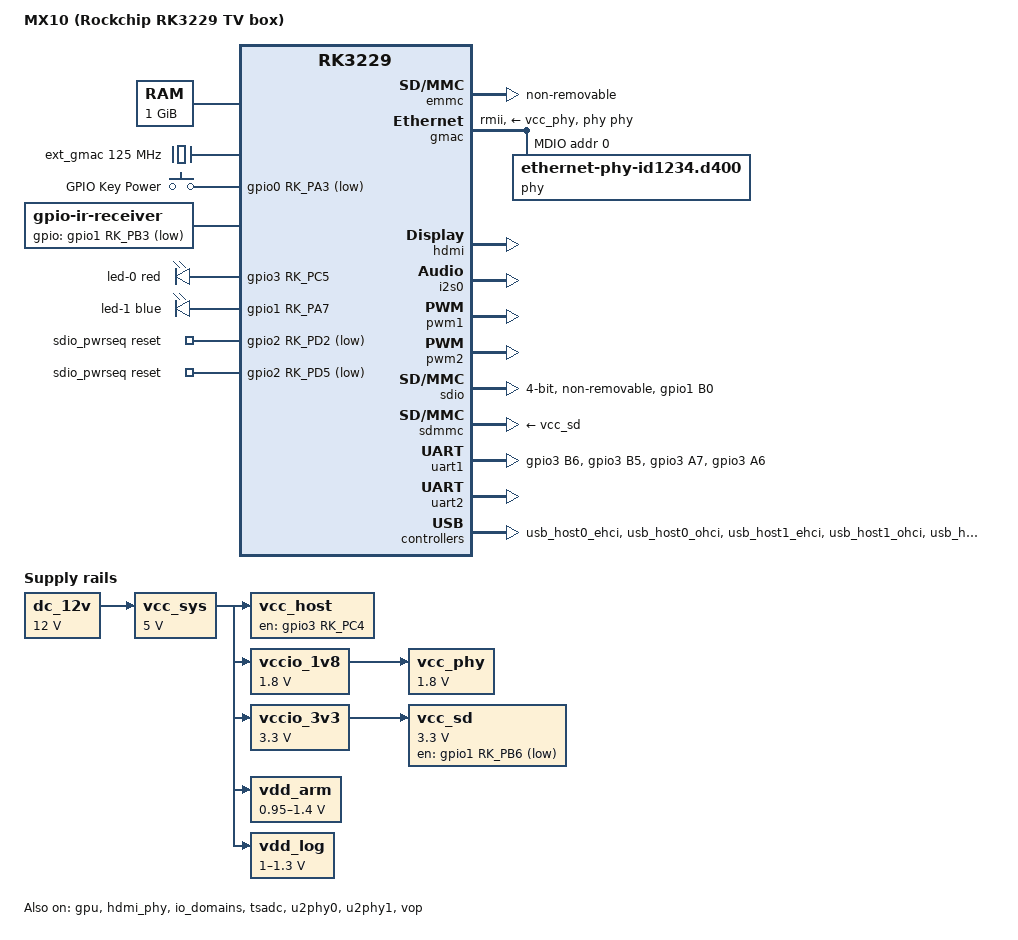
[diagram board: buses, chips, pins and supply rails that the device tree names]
// SPDX-License-Identifier: (GPL-2.0+ OR MIT)
/*
 * "MX10" style Rockchip RK3229 Android TV box (1 GiB DDR3, 8 GiB eMMC),
 * ported from the vendor 3.10.104 device tree found in its firmware
 * (Rockchip RK322x SDK Android 7.1.2, build "MX10-14-202501061756").
 *
 * The board follows the Rockchip RK322x box reference design, so most of
 * this file is shared with rk3229-xms6.dts.
 *
 * Items taken from the vendor DT and NOT verified on hardware are marked
 * with "TODO(verify)".
 */

/dts-v1/;

#include <dt-bindings/input/input.h>
#include <dt-bindings/leds/common.h>
#include "rk3229.dtsi"

/ {
	model = "MX10 (Rockchip RK3229 TV box)";
	compatible = "rockchip,rk3229-mx10", "rockchip,rk3229";

	aliases {
		mmc0 = &sdmmc;
		mmc1 = &sdio;
		mmc2 = &emmc;
	};

	chosen {
		stdout-path = "serial2:1500000n8";
	};

	/*
	 * The vendor DT leaves the memory node empty (<0 0>): the Rockchip
	 * loader passes the size at run time.  The firmware property
	 * roca.mem.size=8GB1GB (8 GiB flash + 1 GiB RAM) indicates 1 GiB.
	 * U-Boot fixes this node up from the detected DRAM size.
	 */
	memory@60000000 {
		device_type = "memory";
		reg = <0x60000000 0x40000000>;
	};

	/*
	 * trust.img (TOS) is loaded by the Rockchip loader to 0x68400000
	 * (see its header) and runs in the secure world.  The reference
	 * OP-TEE setup for RK322x protects 0x68400000-0x68600000, so keep
	 * Linux away from that range.  TODO(verify): exact protected size.
	 */
	reserved-memory {
		#address-cells = <1>;
		#size-cells = <1>;
		ranges;

		tos@68400000 {
			reg = <0x68400000 0x200000>;
			no-map;
		};
	};

	/*
	 * The Rockchip secure firmware (trust.img/TOS) in the eMMC provides
	 * PSCI, but the vendor DT describes it as legacy PSCI 0.1 with fixed
	 * function IDs (cpu_on = 0x84000003 ...).  Whether it also implements
	 * PSCI_VERSION is unknown, so describe it exactly like the vendor DT
	 * instead of relying on the PSCI 0.2 probing done for rk322x.dtsi.
	 */
	psci {
		compatible = "arm,psci";
		method = "smc";
		cpu_suspend = <0x84000001>;
		cpu_off = <0x84000002>;
		cpu_on = <0x84000003>;
	};

	dc_12v: regulator-dc-12v {
		compatible = "regulator-fixed";
		regulator-name = "dc_12v";
		regulator-always-on;
		regulator-boot-on;
		regulator-min-microvolt = <12000000>;
		regulator-max-microvolt = <12000000>;
	};

	ext_gmac: ext_gmac {
		compatible = "fixed-clock";
		clock-frequency = <125000000>;
		clock-output-names = "ext_gmac";
		#clock-cells = <0>;
	};

	gpio-keys {
		compatible = "gpio-keys";
		pinctrl-names = "default";
		pinctrl-0 = <&pwr_key>;

		/* vendor: shutdown-key { shutdown_key_io = <&gpio0 3 1>; } */
		power-key {
			label = "GPIO Key Power";
			gpios = <&gpio0 RK_PA3 GPIO_ACTIVE_LOW>;
			linux,code = <KEY_POWER>;
			debounce-interval = <100>;
			wakeup-source;
		};
	};

	/*
	 * Infrared receiver.  The vendor kernel decodes NEC-like frames in
	 * the PWM3 block (pin GPIO1_B3, "pwmir1-pin"); mainline has no such
	 * hardware decoder support, so sample the pin with gpio-ir-receiver.
	 * Vendor user codes: 0x4040, 0xfe01, 0x1dcc, ...
	 * Load a keymap with ir-keytable(1).
	 */
	ir-receiver {
		compatible = "gpio-ir-receiver";
		gpios = <&gpio1 RK_PB3 GPIO_ACTIVE_LOW>;
		pinctrl-names = "default";
		pinctrl-0 = <&ir_int>;
		linux,rc-map-name = "rc-empty";
	};

	/*
	 * Front status LEDs (vendor "status-led" node).
	 * TODO(verify): polarity; the vendor value "1" is interpreted by a
	 * vendor specific driver.  The xms6 board (same reference design)
	 * uses GPIO3_C5 active high.
	 */
	leds {
		compatible = "gpio-leds";

		led-0 {
			color = <LED_COLOR_ID_RED>;
			function = LED_FUNCTION_STATUS;
			gpios = <&gpio3 RK_PC5 GPIO_ACTIVE_HIGH>;
			default-state = "keep";
		};

		led-1 {
			color = <LED_COLOR_ID_BLUE>;
			function = LED_FUNCTION_POWER;
			gpios = <&gpio1 RK_PA7 GPIO_ACTIVE_HIGH>;
			default-state = "keep";
		};
	};

	/*
	 * HDMI audio: I2S0 -> dw-hdmi (vendor "rockchip_hdmi_i2s").
	 */
	hdmi-sound {
		compatible = "simple-audio-card";
		simple-audio-card,name = "HDMI";
		simple-audio-card,format = "i2s";
		simple-audio-card,mclk-fs = <256>;

		simple-audio-card,cpu {
			sound-dai = <&i2s0>;
		};

		simple-audio-card,codec {
			sound-dai = <&hdmi>;
		};
	};

	/* SDIO Wi-Fi (GPIO2_D2 "WIFI,poweren_gpio") and BT (GPIO2_D5) power */
	sdio_pwrseq: sdio-pwrseq {
		compatible = "mmc-pwrseq-simple";
		reset-gpios = <&gpio2 RK_PD2 GPIO_ACTIVE_LOW>,
			      <&gpio2 RK_PD5 GPIO_ACTIVE_LOW>;
	};

	/*
	 * SD slot power switch: vendor sdmmc node has "power-inverted" and
	 * the sdmmc-pwren pin is GPIO1_B6.
	 * TODO(verify): polarity of the switch.
	 */
	vcc_sd: regulator-vcc-sd {
		compatible = "regulator-fixed";
		gpio = <&gpio1 RK_PB6 GPIO_ACTIVE_LOW>;
		pinctrl-names = "default";
		pinctrl-0 = <&sdmmc_pwren_pin>;
		regulator-name = "vcc_sd";
		regulator-min-microvolt = <3300000>;
		regulator-max-microvolt = <3300000>;
		regulator-boot-on;
		vin-supply = <&vccio_3v3>;
	};

	/* USB host VBUS: vendor usb_control host_drv_gpio = GPIO3_C4 */
	vcc_host: regulator-vcc-host {
		compatible = "regulator-fixed";
		enable-active-high;
		gpio = <&gpio3 RK_PC4 GPIO_ACTIVE_HIGH>;
		pinctrl-names = "default";
		pinctrl-0 = <&host_vbus_drv>;
		regulator-name = "vcc_host";
		regulator-always-on;
		regulator-boot-on;
		vin-supply = <&vcc_sys>;
	};

	vcc_phy: regulator-vcc-phy {
		compatible = "regulator-fixed";
		enable-active-high;
		regulator-name = "vcc_phy";
		regulator-min-microvolt = <1800000>;
		regulator-max-microvolt = <1800000>;
		regulator-always-on;
		regulator-boot-on;
		vin-supply = <&vccio_1v8>;
	};

	vcc_sys: regulator-vcc-sys {
		compatible = "regulator-fixed";
		regulator-name = "vcc_sys";
		regulator-always-on;
		regulator-boot-on;
		regulator-min-microvolt = <5000000>;
		regulator-max-microvolt = <5000000>;
		vin-supply = <&dc_12v>;
	};

	vccio_1v8: regulator-vccio-1v8 {
		compatible = "regulator-fixed";
		regulator-name = "vccio_1v8";
		regulator-min-microvolt = <1800000>;
		regulator-max-microvolt = <1800000>;
		regulator-always-on;
		vin-supply = <&vcc_sys>;
	};

	vccio_3v3: regulator-vccio-3v3 {
		compatible = "regulator-fixed";
		regulator-name = "vccio_3v3";
		regulator-min-microvolt = <3300000>;
		regulator-max-microvolt = <3300000>;
		regulator-always-on;
		vin-supply = <&vcc_sys>;
	};

	/* vendor pwm-regulator1: PWM1, 0.95 V - 1.40 V */
	vdd_arm: regulator-vdd-arm {
		compatible = "pwm-regulator";
		pwms = <&pwm1 0 25000 1>;
		pwm-supply = <&vcc_sys>;
		regulator-name = "vdd_arm";
		regulator-min-microvolt = <950000>;
		regulator-max-microvolt = <1400000>;
		regulator-always-on;
		regulator-boot-on;
	};

	/* vendor pwm-regulator2: PWM2, 1.00 V - 1.30 V */
	vdd_log: regulator-vdd-log {
		compatible = "pwm-regulator";
		pwms = <&pwm2 0 25000 1>;
		pwm-supply = <&vcc_sys>;
		regulator-name = "vdd_log";
		regulator-min-microvolt = <1000000>;
		regulator-max-microvolt = <1300000>;
		regulator-always-on;
		regulator-boot-on;
	};
};

&cpu0 {
	cpu-supply = <&vdd_arm>;
};

&cpu1 {
	cpu-supply = <&vdd_arm>;
};

&cpu2 {
	cpu-supply = <&vdd_arm>;
};

&cpu3 {
	cpu-supply = <&vdd_arm>;
};

&emmc {
	cap-mmc-highspeed;
	non-removable;
	status = "okay";
};

/* Internal 10/100 PHY, RMII, 50 MHz reference clock provided by the SoC */
&gmac {
	assigned-clocks = <&cru SCLK_MAC_SRC>;
	assigned-clock-rates = <50000000>;
	clock_in_out = "output";
	phy-handle = <&phy>;
	phy-mode = "rmii";
	phy-supply = <&vcc_phy>;
	status = "okay";

	mdio {
		compatible = "snps,dwmac-mdio";
		#address-cells = <1>;
		#size-cells = <0>;

		phy: ethernet-phy@0 {
			compatible = "ethernet-phy-id1234.d400",
				     "ethernet-phy-ieee802.3-c22";
			reg = <0>;
			clocks = <&cru SCLK_MAC_PHY>;
			phy-is-integrated;
			resets = <&cru SRST_MACPHY>;
		};
	};
};

&gpu {
	mali-supply = <&vdd_log>;
	status = "okay";
};

&hdmi {
	#sound-dai-cells = <0>;
	status = "okay";
};

&hdmi_phy {
	status = "okay";
};

&i2s0 {
	#sound-dai-cells = <0>;
	status = "okay";
};

&iep_mmu {
	status = "okay";
};

/* vendor io-domains: vccio1 = 3.3 V, vccio2 = 1.8 V, vccio4 = 3.3 V */
&io_domains {
	status = "okay";

	vccio1-supply = <&vccio_3v3>;
	vccio2-supply = <&vccio_1v8>;
	vccio4-supply = <&vccio_3v3>;
};

&pinctrl {
	usb {
		host_vbus_drv: host-vbus-drv {
			rockchip,pins = <3 RK_PC4 RK_FUNC_GPIO &pcfg_pull_none>;
		};
	};

	keys {
		pwr_key: pwr-key {
			rockchip,pins = <0 RK_PA3 RK_FUNC_GPIO &pcfg_pull_up>;
		};
	};

	ir {
		ir_int: ir-int {
			rockchip,pins = <1 RK_PB3 RK_FUNC_GPIO &pcfg_pull_none>;
		};
	};

	sdmmc-extra {
		sdmmc_pwren_pin: sdmmc-pwren-pin {
			rockchip,pins = <1 RK_PB6 RK_FUNC_GPIO &pcfg_pull_none>;
		};
	};

	sdio-extra {
		/* 32.768 kHz low power clock for the Wi-Fi/BT module */
		clk_32k_out: clk-32k-out {
			rockchip,pins = <1 RK_PB0 2 &pcfg_pull_none>;
		};
	};

	/* Bluetooth UART: vendor "uart1-1" group (not present in rk322x.dtsi) */
	uart1-bt {
		uart1_bt_xfer: uart1-bt-xfer {
			rockchip,pins = <3 RK_PB6 1 &pcfg_pull_up>,
					<3 RK_PB5 1 &pcfg_pull_none>;
		};

		uart1_bt_cts: uart1-bt-cts {
			rockchip,pins = <3 RK_PA7 1 &pcfg_pull_none>;
		};

		uart1_bt_rts: uart1-bt-rts {
			rockchip,pins = <3 RK_PA6 1 &pcfg_pull_none>;
		};
	};
};

&pwm1 {
	status = "okay";
};

&pwm2 {
	status = "okay";
};

/*
 * SDIO Wi-Fi.  The firmware ships drivers for several modules (ap6330 /
 * bcmdhd, rtl8189es, rtl8723bs, esp8089, ssv6051, ...) and probes at
 * run time, so the fitted chip is board-revision dependent.  Only the
 * generic bus wiring is described here.
 */
&sdio {
	bus-width = <4>;
	cap-sd-highspeed;
	cap-sdio-irq;
	mmc-pwrseq = <&sdio_pwrseq>;
	non-removable;
	pinctrl-names = "default";
	pinctrl-0 = <&sdio_clk &sdio_cmd &sdio_bus4 &clk_32k_out>;
	vqmmc-supply = <&vccio_1v8>;
	status = "okay";
};

&sdmmc {
	broken-cd;
	cap-mmc-highspeed;
	cap-sd-highspeed;
	disable-wp;
	vmmc-supply = <&vcc_sd>;
	vqmmc-supply = <&vccio_3v3>;
	status = "okay";
};

&tsadc {
	rockchip,hw-tshut-mode = <0>;
	status = "okay";
};

&u2phy0 {
	status = "okay";

	u2phy0_host: host-port {
		phy-supply = <&vcc_host>;
		status = "okay";
	};

	u2phy0_otg: otg-port {
		phy-supply = <&vcc_host>;
		status = "okay";
	};
};

&u2phy1 {
	status = "okay";

	u2phy1_host: host-port {
		phy-supply = <&vcc_host>;
		status = "okay";
	};

	u2phy1_otg: otg-port {
		phy-supply = <&vcc_host>;
		status = "okay";
	};
};

/* Bluetooth UART (vendor serial@11020000 = UART1) */
&uart1 {
	pinctrl-names = "default";
	pinctrl-0 = <&uart1_bt_xfer &uart1_bt_cts &uart1_bt_rts>;
	uart-has-rtscts;
	status = "okay";
};

/* Debug console, 1.5 Mbaud (vendor fiq-debugger, UART2 on uart21 pins) */
&uart2 {
	pinctrl-0 = <&uart21_xfer>;
	status = "okay";
};

&usb_host0_ehci {
	status = "okay";
};

&usb_host0_ohci {
	status = "okay";
};

&usb_host1_ehci {
	status = "okay";
};

&usb_host1_ohci {
	status = "okay";
};

&usb_host2_ehci {
	status = "okay";
};

&usb_host2_ohci {
	status = "okay";
};

&usb_otg {
	status = "okay";
};

&vop {
	status = "okay";
};

&vop_mmu {
	status = "okay";
};
